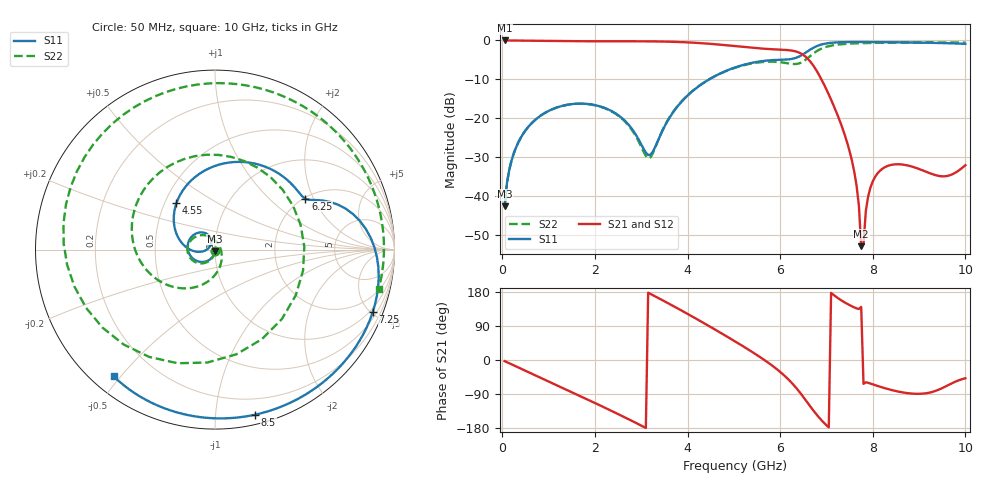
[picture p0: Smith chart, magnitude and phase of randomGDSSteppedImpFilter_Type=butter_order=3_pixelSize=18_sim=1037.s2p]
! freq	dB(S11)	phase(S11)	dB(S12)	phase(S12)
!  dB(S21)	phase(S21)	dB(S22)	phase(S22)
!S-par simulation data
#  GHz  S  DB  R 50
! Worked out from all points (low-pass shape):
!   200 points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, 50 MHz to 10 GHz, reference 50 ohm
!   highest |S21| = -0.01 dB at 50 MHz (marker M1); lowest = -53.0 dB at 7.75 GHz (marker M2)
!   |S21| within 3 dB of the highest: start of sweep to 6.381 GHz
!   lowest |S11| = -42.7 dB at 50 MHz (marker M3), VSWR 1.01, Z = 50 - j0.734 ohm
!   |S11| at or under -10 dB: start of sweep to 4.47 GHz
!   |S22| runs from -42.7 to -0.5 dB; largest |S21 - S12| = 0
!   S11 on the Smith chart (normalised r, x): 50 MHz: 1.00, -0.01; 4.55 GHz: 0.57, +0.34; 6.25 GHz: 2.04, +1.74; 7.25 GHz: 0.78, -5.12; 8.5 GHz: 0.07, -1.27; 10 GHz: 0.06, -0.48
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0.05  -42.68 -91.8  -0.01 -2.9  -0.01 -2.9  -42.66 -91.4
0.2  -30.92 -101.6  -0.02 -11.5  -0.02 -11.5  -30.89 -100.0
0.5  -23.18 -120.8  -0.06 -28.5  -0.06 -28.5  -23.18 -116.9
1.75  -16.27 163.8  -0.22 -99.1  -0.22 -99.1  -16.30 176.4
2.55  -19.66 119.4  -0.22 -145.6  -0.22 -145.6  -19.80 128.1
3.15  -29.49 142.7  -0.24 177.5  -0.24 177.5  -30.34 27.4
3.4  -24.72 -173.5  -0.27 161.6  -0.27 161.6  -24.71 -49.4
4.55  -9.46 129.6  -0.93 83.5  -0.93 83.5  -9.45 -145.2
5.05  -6.87 94.3  -1.49 47.3  -1.49 47.3  -6.94 178.3
5.85  -5.05 44.2  -2.28 -16.8  -2.28 -16.8  -5.48 101.8
6.25  -4.76 29.4  -2.61 -60.3  -2.61 -60.3  -6.04 29.4
6.45  -3.89 25.5  -3.37 -89.4  -3.37 -89.4  -5.73 -29.7
6.7  -2.01 14.5  -6.21 -130.5  -6.21 -130.5  -3.52 -108.2
6.95  -0.88 -2.7  -11.40 -166.3  -11.40 -166.3  -1.83 -165.3
7.25  -0.49 -21.6  -19.54 163.1  -19.54 163.1  -1.07 150.5
7.6  -0.41 -39.6  -33.78 138.8  -33.78 138.8  -0.78 115.6
7.7  -0.41 -44.3  -42.49 134.5  -42.49 134.5  -0.73 107.4
7.75  -0.41 -46.5  -52.95 140.0  -52.95 140.0  -0.71 103.5
7.95  -0.42 -55.1  -37.85 -62.1  -37.85 -62.1  -0.65 89.0
8.35  -0.46 -70.8  -32.18 -77.5  -32.18 -77.5  -0.58 63.8
8.5  -0.48 -76.3  -31.88 -82.0  -31.88 -82.0  -0.56 55.3
10  -0.88 -128.7  -32.11 -48.1  -32.11 -48.1  -0.55 -13.5
